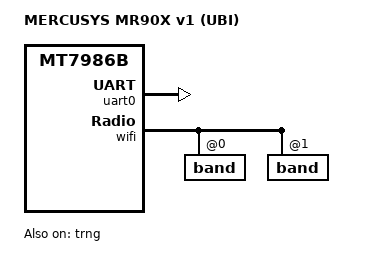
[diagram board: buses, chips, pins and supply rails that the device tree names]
// SPDX-License-Identifier: (GL-2.0 OR MIT)

#include "mt7986b-mercusys-mr90x-v1-common.dtsi"

/ {
	compatible = "mercusys,mr90x-v1-ubi", "mediatek,mt7986b";
	model = "MERCUSYS MR90X v1 (UBI)";
};

&aliases {
	label-mac-device = &gmac0;
};

&chosen {
	bootargs-append = " root=/dev/fit0 rootwait";
	rootdisk = <&ubi_fit>;
};

&gmac0 {
	nvmem-cells = <&macaddr_factory_8000 0>;
	nvmem-cell-names = "mac-address";
};

&gmac1 {
	nvmem-cells = <&macaddr_factory_8000 1>;
	nvmem-cell-names = "mac-address";
};

&partitions {
	partition@0 {
		label = "boot";
		reg = <0x0 0x200000>;
		read-only;

		compatible = "fixed-partitions";
		#address-cells = <1>;
		#size-cells = <1>;

		partition@0 {
			label = "bl2";
			reg = <0x0 0x100000>;
			read-only;
		};

		partition@100000 {
			label = "factory";
			reg = <0x100000 0x100000>;
			read-only;

			nvmem-layout {
				compatible = "fixed-layout";
				#address-cells = <1>;
				#size-cells = <1>;

				eeprom_factory_0: eeprom@0 {
					reg = <0x0 0x1000>;
				};

				macaddr_factory_8000: macaddr@8000 {
					compatible = "mac-base";
					reg = <0x8000 0x6>;
					#nvmem-cell-cells = <1>;
				};
			};
		};
	};

	partition@200000 {
		compatible = "linux,ubi";
		reg = <0x200000 0x7e00000>;
		label = "ubi";

		volumes {
			ubi_fit: ubi-volume-fit {
				volname = "fit";
			};

			ubi_ubootenv: ubi-volume-ubootenv {
				volname = "ubootenv";
			};

			ubi_ubootenv2: ubi-volume-ubootenv2 {
				volname = "ubootenv2";
			};
		};
	};
};

&trng {
	status = "okay";
};

&uart0 {
	status = "okay";
};

&ubi_ubootenv {
	nvmem-layout {
		compatible = "u-boot,env-redundant-bool";
	};
};

&ubi_ubootenv2 {
	nvmem-layout {
		compatible = "u-boot,env-redundant-bool";
	};
};

&wifi {
	nvmem-cells = <&eeprom_factory_0>;
	nvmem-cell-names = "eeprom";

	band@0 {
		reg = <0>;
		nvmem-cells = <&macaddr_factory_8000 0>;
		nvmem-cell-names = "mac-address";
	};

	band@1 {
		reg = <1>;
		nvmem-cells = <&macaddr_factory_8000 (-1)>;
		nvmem-cell-names = "mac-address";
	};
};
